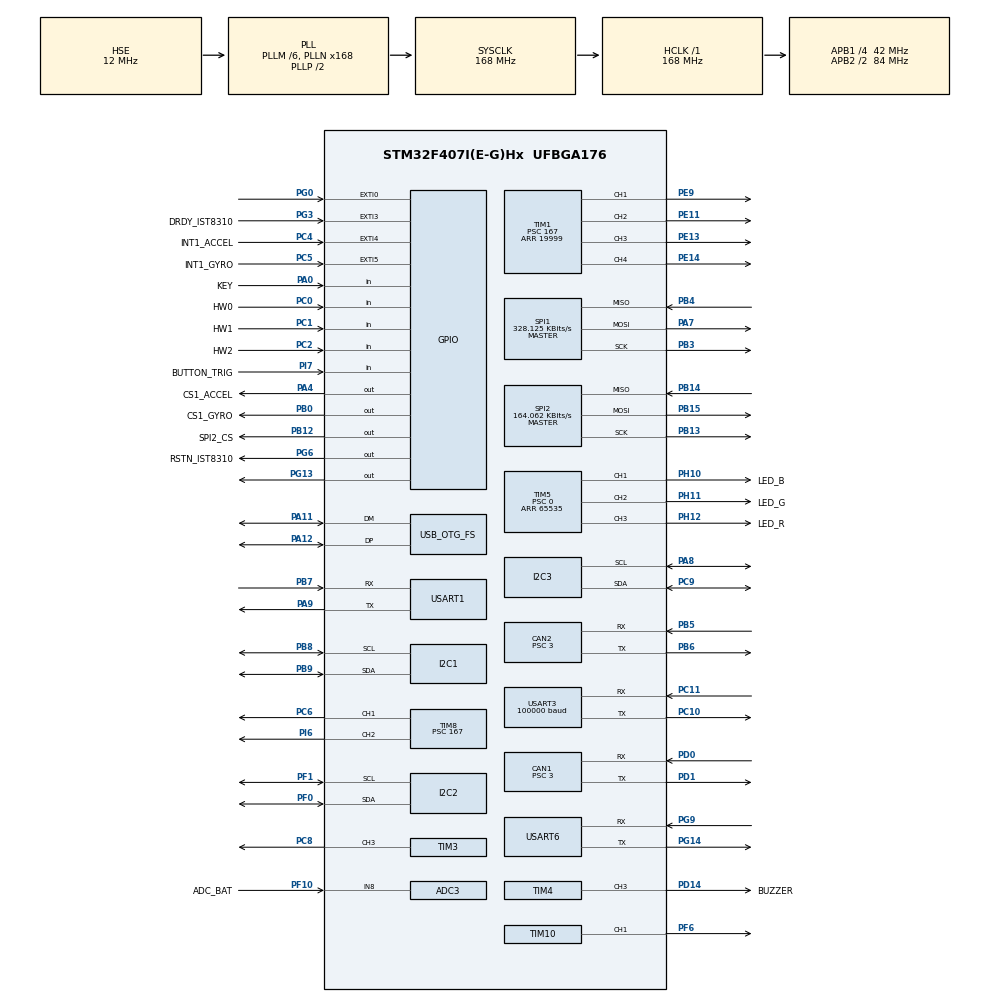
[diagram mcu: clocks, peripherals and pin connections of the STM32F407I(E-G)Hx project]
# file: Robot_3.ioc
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ADC1.Channel-0\#ChannelRegularConversion=ADC_CHANNEL_TEMPSENSOR
ADC1.ClockPrescaler=ADC_CLOCK_SYNC_PCLK_DIV6
ADC1.NbrOfConversionFlag=1
ADC1.Rank-0\#ChannelRegularConversion=1
ADC1.SamplingTime-0\#ChannelRegularConversion=ADC_SAMPLETIME_3CYCLES
ADC1.master=1
ADC3.Channel-0\#ChannelRegularConversion=ADC_CHANNEL_8
ADC3.ClockPrescaler=ADC_CLOCK_SYNC_PCLK_DIV6
ADC3.NbrOfConversionFlag=1
ADC3.Rank-0\#ChannelRegularConversion=1
ADC3.SamplingTime-0\#ChannelRegularConversion=ADC_SAMPLETIME_3CYCLES
CAN1.BS1=CAN_BS1_10TQ
CAN1.BS2=CAN_BS2_3TQ
CAN1.CalculateBaudRate=1000000
CAN1.CalculateTimeQuantum=71.42857142857143
CAN1.Prescaler=3
CAN2.BS1=CAN_BS1_10TQ
CAN2.BS2=CAN_BS2_3TQ
CAN2.CalculateBaudRate=1000000
CAN2.CalculateTimeQuantum=71.42857142857143
CAN2.Prescaler=3
Dma.I2C2_TX.2.Direction=DMA_MEMORY_TO_PERIPH
Dma.I2C2_TX.2.FIFOMode=DMA_FIFOMODE_DISABLE
Dma.I2C2_TX.2.Instance=DMA1_Stream7
Dma.I2C2_TX.2.MemDataAlignment=DMA_MDATAALIGN_BYTE
Dma.I2C2_TX.2.MemInc=DMA_MINC_ENABLE
Dma.I2C2_TX.2.Mode=DMA_NORMAL
Dma.I2C2_TX.2.PeriphDataAlignment=DMA_PDATAALIGN_BYTE
Dma.I2C2_TX.2.PeriphInc=DMA_PINC_DISABLE
Dma.I2C2_TX.2.Priority=DMA_PRIORITY_HIGH
Dma.Request0=SPI1_RX
Dma.Request1=SPI1_TX
Dma.Request2=I2C2_TX
Dma.Request3=USART3_RX
Dma.Request4=USART6_RX
Dma.Request5=USART6_TX
Dma.Request6=USART1_TX
Dma.Request7=USART1_RX
Dma.SPI1_RX.0.Direction=DMA_PERIPH_TO_MEMORY
Dma.SPI1_RX.0.FIFOMode=DMA_FIFOMODE_DISABLE
Dma.SPI1_RX.0.Instance=DMA2_Stream2
Dma.SPI1_RX.0.MemDataAlignment=DMA_MDATAALIGN_BYTE
Dma.SPI1_RX.0.MemInc=DMA_MINC_ENABLE
Dma.SPI1_RX.0.Mode=DMA_NORMAL
Dma.SPI1_RX.0.PeriphDataAlignment=DMA_PDATAALIGN_BYTE
Dma.SPI1_RX.0.PeriphInc=DMA_PINC_DISABLE
Dma.SPI1_RX.0.Priority=DMA_PRIORITY_VERY_HIGH
Dma.SPI1_TX.1.Direction=DMA_MEMORY_TO_PERIPH
Dma.SPI1_TX.1.FIFOMode=DMA_FIFOMODE_DISABLE
Dma.SPI1_TX.1.Instance=DMA2_Stream3
Dma.SPI1_TX.1.MemDataAlignment=DMA_MDATAALIGN_BYTE
Dma.SPI1_TX.1.MemInc=DMA_MINC_ENABLE
Dma.SPI1_TX.1.Mode=DMA_NORMAL
Dma.SPI1_TX.1.PeriphDataAlignment=DMA_PDATAALIGN_BYTE
Dma.SPI1_TX.1.PeriphInc=DMA_PINC_DISABLE
Dma.SPI1_TX.1.Priority=DMA_PRIORITY_HIGH
Dma.USART1_RX.7.Direction=DMA_PERIPH_TO_MEMORY
Dma.USART1_RX.7.FIFOMode=DMA_FIFOMODE_DISABLE
Dma.USART1_RX.7.Instance=DMA2_Stream5
Dma.USART1_RX.7.MemDataAlignment=DMA_MDATAALIGN_BYTE
Dma.USART1_RX.7.MemInc=DMA_MINC_ENABLE
Dma.USART1_RX.7.Mode=DMA_NORMAL
Dma.USART1_RX.7.PeriphDataAlignment=DMA_PDATAALIGN_BYTE
Dma.USART1_RX.7.PeriphInc=DMA_PINC_DISABLE
Dma.USART1_RX.7.Priority=DMA_PRIORITY_LOW
Dma.USART1_TX.6.Direction=DMA_MEMORY_TO_PERIPH
Dma.USART1_TX.6.FIFOMode=DMA_FIFOMODE_DISABLE
Dma.USART1_TX.6.Instance=DMA2_Stream7
Dma.USART1_TX.6.MemDataAlignment=DMA_MDATAALIGN_BYTE
Dma.USART1_TX.6.MemInc=DMA_MINC_ENABLE
Dma.USART1_TX.6.Mode=DMA_NORMAL
Dma.USART1_TX.6.PeriphDataAlignment=DMA_PDATAALIGN_BYTE
Dma.USART1_TX.6.PeriphInc=DMA_PINC_DISABLE
Dma.USART1_TX.6.Priority=DMA_PRIORITY_MEDIUM
Dma.USART3_RX.3.Direction=DMA_PERIPH_TO_MEMORY
Dma.USART3_RX.3.FIFOMode=DMA_FIFOMODE_DISABLE
Dma.USART3_RX.3.Instance=DMA1_Stream1
Dma.USART3_RX.3.MemDataAlignment=DMA_MDATAALIGN_BYTE
Dma.USART3_RX.3.MemInc=DMA_MINC_ENABLE
Dma.USART3_RX.3.Mode=DMA_NORMAL
Dma.USART3_RX.3.PeriphDataAlignment=DMA_PDATAALIGN_BYTE
Dma.USART3_RX.3.PeriphInc=DMA_PINC_DISABLE
Dma.USART3_RX.3.Priority=DMA_PRIORITY_HIGH
Dma.USART6_RX.4.Direction=DMA_PERIPH_TO_MEMORY
Dma.USART6_RX.4.FIFOMode=DMA_FIFOMODE_DISABLE
Dma.USART6_RX.4.Instance=DMA2_Stream1
Dma.USART6_RX.4.MemDataAlignment=DMA_MDATAALIGN_BYTE
Dma.USART6_RX.4.MemInc=DMA_MINC_ENABLE
Dma.USART6_RX.4.Mode=DMA_NORMAL
Dma.USART6_RX.4.PeriphDataAlignment=DMA_PDATAALIGN_BYTE
Dma.USART6_RX.4.PeriphInc=DMA_PINC_DISABLE
Dma.USART6_RX.4.Priority=DMA_PRIORITY_HIGH
Dma.USART6_TX.5.Direction=DMA_MEMORY_TO_PERIPH
Dma.USART6_TX.5.FIFOMode=DMA_FIFOMODE_DISABLE
Dma.USART6_TX.5.Instance=DMA2_Stream6
Dma.USART6_TX.5.MemDataAlignment=DMA_MDATAALIGN_BYTE
Dma.USART6_TX.5.MemInc=DMA_MINC_ENABLE
Dma.USART6_TX.5.Mode=DMA_NORMAL
Dma.USART6_TX.5.PeriphDataAlignment=DMA_PDATAALIGN_BYTE
Dma.USART6_TX.5.PeriphInc=DMA_PINC_DISABLE
Dma.USART6_TX.5.Priority=DMA_PRIORITY_MEDIUM
FREERTOS.INCLUDE_eTaskGetState=1
FREERTOS.INCLUDE_pcTaskGetTaskName=1
FREERTOS.INCLUDE_uxTaskGetStackHighWaterMark=1
FREERTOS.INCLUDE_vTaskCleanUpResources=1
FREERTOS.INCLUDE_vTaskDelayUntil=1
FREERTOS.INCLUDE_xEventGroupSetBitFromISR=1
FREERTOS.INCLUDE_xQueueGetMutexHolder=1
FREERTOS.INCLUDE_xSemaphoreGetMutexHolder=1
FREERTOS.INCLUDE_xTaskAbortDelay=1
FREERTOS.INCLUDE_xTaskGetCurrentTaskHandle=1
FREERTOS.INCLUDE_xTaskGetHandle=1
FREERTOS.INCLUDE_xTimerPendFunctionCall=1
FREERTOS.Tasks01=test,24,128,test_task,As weak,NULL,Dynamic,NULL,NULL
FREERTOS.configTOTAL_HEAP_SIZE=24576
I2C1.I2C_Mode=I2C_Fast
I2C2.I2C_Mode=I2C_Fast
I2C3.I2C_Mode=I2C_Fast
Mcu.Family=STM32F4
Mcu.Name=STM32F407I(E-G)Hx
Mcu.Package=UFBGA176
NVIC.CAN1_RX0_IRQn=true\:6\:0\:true\:false\:true\:true\:true\:true\:true
NVIC.CAN2_RX0_IRQn=true\:6\:0\:true\:false\:true\:true\:true\:true\:true
NVIC.DMA1_Stream1_IRQn=true\:5\:0\:true\:false\:false\:true\:false\:false\:true
NVIC.DMA1_Stream7_IRQn=true\:5\:0\:true\:false\:false\:true\:false\:true\:true
NVIC.DMA2_Stream1_IRQn=true\:5\:0\:true\:false\:true\:true\:false\:true\:true
NVIC.DMA2_Stream2_IRQn=true\:5\:0\:true\:false\:false\:true\:false\:true\:true
NVIC.DMA2_Stream3_IRQn=true\:5\:0\:true\:false\:false\:true\:false\:true\:true
NVIC.DMA2_Stream5_IRQn=true\:5\:0\:false\:false\:true\:true\:false\:true\:true
NVIC.DMA2_Stream6_IRQn=true\:5\:0\:true\:false\:true\:true\:false\:true\:true
NVIC.DMA2_Stream7_IRQn=true\:5\:0\:true\:false\:true\:true\:false\:true\:true
NVIC.EXTI0_IRQn=true\:6\:0\:true\:false\:true\:true\:true\:true\:true
NVIC.EXTI3_IRQn=true\:5\:0\:true\:false\:true\:true\:true\:true\:true
NVIC.EXTI4_IRQn=true\:5\:0\:true\:false\:true\:true\:true\:true\:true
NVIC.EXTI9_5_IRQn=true\:5\:0\:true\:false\:true\:true\:true\:true\:true
NVIC.OTG_FS_IRQn=true\:5\:0\:false\:false\:true\:true\:false\:true\:true
NVIC.PriorityGroup=NVIC_PRIORITYGROUP_4
NVIC.USART1_IRQn=true\:5\:0\:false\:false\:true\:true\:true\:true\:true
NVIC.USART3_IRQn=true\:4\:0\:true\:false\:false\:false\:true\:true\:true
NVIC.USART6_IRQn=true\:5\:0\:true\:false\:false\:true\:true\:true\:true
PA0-WKUP.GPIO_Label=KEY
PA0-WKUP.GPIO_PuPd=GPIO_PULLUP
PA0-WKUP.Signal=GPIO_Input
PA11.Mode=Device_Only
PA11.Signal=USB_OTG_FS_DM
PA12.Mode=Device_Only
PA12.Signal=USB_OTG_FS_DP
PA13.Mode=Serial_Wire
PA13.Signal=SYS_JTMS-SWDIO
PA14.Mode=Serial_Wire
PA14.Signal=SYS_JTCK-SWCLK
PA4.GPIO_Label=CS1_ACCEL
PA4.GPIO_PuPd=GPIO_PULLUP
PA4.GPIO_Speed=GPIO_SPEED_FREQ_HIGH
PA4.PinState=GPIO_PIN_SET
PA4.Signal=GPIO_Output
PA7.GPIO_PuPd=GPIO_PULLUP
PA7.Mode=Full_Duplex_Master
PA7.Signal=SPI1_MOSI
PA8.GPIO_Pu=GPIO_PULLUP
PA8.Mode=I2C
PA8.Signal=I2C3_SCL
PA9.Mode=Asynchronous
PA9.Signal=USART1_TX
PB0.GPIO_Label=CS1_GYRO
PB0.GPIO_PuPd=GPIO_PULLUP
PB0.GPIO_Speed=GPIO_SPEED_FREQ_HIGH
PB0.PinState=GPIO_PIN_SET
PB0.Signal=GPIO_Output
PB12.GPIO_Label=SPI2_CS
PB12.GPIO_PuPd=GPIO_PULLUP
PB12.GPIO_Speed=GPIO_SPEED_FREQ_MEDIUM
PB12.PinState=GPIO_PIN_SET
PB12.Signal=GPIO_Output
PB13.GPIO_PuPd=GPIO_PULLUP
PB13.Mode=Full_Duplex_Master
PB13.Signal=SPI2_SCK
PB14.GPIO_PuPd=GPIO_PULLUP
PB14.Mode=Full_Duplex_Master
PB14.Signal=SPI2_MISO
PB15.GPIO_PuPd=GPIO_PULLUP
PB15.Mode=Full_Duplex_Master
PB15.Signal=SPI2_MOSI
PB3.GPIO_PuPd=GPIO_PULLUP
PB3.Mode=Full_Duplex_Master
PB3.Signal=SPI1_SCK
PB4.GPIO_PuPd=GPIO_PULLUP
PB4.Mode=Full_Duplex_Master
PB4.Signal=SPI1_MISO
PB5.Mode=CAN_Activate
PB5.Signal=CAN2_RX
PB6.Mode=CAN_Activate
PB6.Signal=CAN2_TX
PB7.Mode=Asynchronous
PB7.Signal=USART1_RX
PB8.GPIO_Pu=GPIO_PULLUP
PB8.Mode=I2C
PB8.Signal=I2C1_SCL
PB9.GPIO_Pu=GPIO_PULLUP
PB9.Mode=I2C
PB9.Signal=I2C1_SDA
PC0.GPIO_Label=HW0
PC0.Signal=GPIO_Input
PC1.GPIO_Label=HW1
PC1.Signal=GPIO_Input
PC10.Mode=Asynchronous
PC10.Signal=USART3_TX
PC11.Mode=Asynchronous
PC11.Signal=USART3_RX
PC2.GPIO_Label=HW2
PC2.Signal=GPIO_Input
PC4.GPIO_Label=INT1_ACCEL
PC4.GPIO_ModeDefaultEXTI=GPIO_MODE_IT_FALLING
PC4.GPIO_PuPd=GPIO_PULLUP
PC4.Signal=GPXTI4
PC5.GPIO_Label=INT1_GYRO
PC5.GPIO_ModeDefaultEXTI=GPIO_MODE_IT_FALLING
PC5.GPIO_PuPd=GPIO_PULLUP
PC5.Signal=GPXTI5
PC6.GPIO_PuPd=GPIO_PULLUP
PC6.GPIO_Speed=GPIO_SPEED_FREQ_HIGH
PC6.Signal=S_TIM8_CH1
PC8.GPIO_PuPd=GPIO_PULLUP
PC8.GPIO_Speed=GPIO_SPEED_FREQ_HIGH
PC8.Signal=S_TIM3_CH3
PC9.GPIO_Pu=GPIO_PULLUP
PC9.Mode=I2C
PC9.Signal=I2C3_SDA
PD0.Mode=CAN_Activate
PD0.Signal=CAN1_RX
PD1.Mode=CAN_Activate
PD1.Signal=CAN1_TX
PD14.GPIO_Label=BUZZER
PD14.GPIO_PuPd=GPIO_PULLUP
PD14.GPIO_Speed=GPIO_SPEED_FREQ_VERY_HIGH
PD14.Signal=S_TIM4_CH3
PE11.GPIO_PuPd=GPIO_PULLUP
PE11.GPIO_Speed=GPIO_SPEED_FREQ_HIGH
PE11.Signal=S_TIM1_CH2
PE13.GPIO_PuPd=GPIO_PULLUP
PE13.GPIO_Speed=GPIO_SPEED_FREQ_HIGH
PE13.Signal=S_TIM1_CH3
PE14.GPIO_PuPd=GPIO_PULLUP
PE14.GPIO_Speed=GPIO_SPEED_FREQ_HIGH
PE14.Signal=S_TIM1_CH4
PE9.GPIO_PuPd=GPIO_PULLUP
PE9.GPIO_Speed=GPIO_SPEED_FREQ_HIGH
PE9.Signal=S_TIM1_CH1
PF0.GPIO_Pu=GPIO_PULLUP
PF0.Mode=I2C
PF0.Signal=I2C2_SDA
PF1.GPIO_Pu=GPIO_PULLUP
PF1.Mode=I2C
PF1.Signal=I2C2_SCL
PF10.GPIO_Label=ADC_BAT
PF10.Mode=IN8
PF10.Signal=ADC3_IN8
PF6.GPIO_PuPd=GPIO_PULLUP
PF6.GPIO_Speed=GPIO_SPEED_FREQ_HIGH
PF6.Signal=S_TIM10_CH1
PG0.GPIO_ModeDefaultEXTI=GPIO_MODE_IT_FALLING
PG0.GPIO_PuPd=GPIO_PULLUP
PG0.Signal=GPXTI0
PG13.GPIO_PuPd=GPIO_PULLUP
PG13.GPIO_Speed=GPIO_SPEED_FREQ_HIGH
PG13.Signal=GPIO_Output
PG14.Mode=Asynchronous
PG14.Signal=USART6_TX
PG3.GPIO_Label=DRDY_IST8310
PG3.GPIO_ModeDefaultEXTI=GPIO_MODE_IT_FALLING
PG3.GPIO_PuPd=GPIO_PULLUP
PG3.Signal=GPXTI3
PG6.GPIO_Label=RSTN_IST8310
PG6.GPIO_PuPd=GPIO_PULLUP
PG6.GPIO_Speed=GPIO_SPEED_FREQ_MEDIUM
PG6.PinState=GPIO_PIN_SET
PG6.Signal=GPIO_Output
PG9.Mode=Asynchronous
PG9.Signal=USART6_RX
PH0-OSC_IN.Mode=HSE-External-Oscillator
PH0-OSC_IN.Signal=RCC_OSC_IN
PH1-OSC_OUT.Mode=HSE-External-Oscillator
PH1-OSC_OUT.Signal=RCC_OSC_OUT
PH10.GPIO_Label=LED_B
PH10.GPIO_PuPd=GPIO_PULLUP
PH10.GPIO_Speed=GPIO_SPEED_FREQ_HIGH
PH10.Signal=S_TIM5_CH1
PH11.GPIO_Label=LED_G
PH11.GPIO_PuPd=GPIO_PULLUP
PH11.GPIO_Speed=GPIO_SPEED_FREQ_HIGH
PH11.Signal=S_TIM5_CH2
PH12.GPIO_Label=LED_R
PH12.GPIO_PuPd=GPIO_PULLUP
PH12.GPIO_Speed=GPIO_SPEED_FREQ_HIGH
PH12.Signal=S_TIM5_CH3
PI6.GPIO_PuPd=GPIO_PULLUP
PI6.GPIO_Speed=GPIO_SPEED_FREQ_HIGH
PI6.Signal=S_TIM8_CH2
PI7.GPIO_Label=BUTTON_TRIG
PI7.GPIO_PuPd=GPIO_PULLUP
PI7.Signal=GPIO_Input
ProjectManager.HeapSize=0x2000
ProjectManager.StackSize=0x2000
ProjectManager.TargetToolchain=MDK-ARM V5
RCC.48MHZClocksFreq_Value=48000000
RCC.AHBFreq_Value=168000000
RCC.APB1CLKDivider=RCC_HCLK_DIV4
RCC.APB1Freq_Value=42000000
RCC.APB1TimFreq_Value=84000000
RCC.APB2CLKDivider=RCC_HCLK_DIV2
RCC.APB2Freq_Value=84000000
RCC.APB2TimFreq_Value=168000000
RCC.CortexFreq_Value=168000000
RCC.HCLKFreq_Value=168000000
RCC.HSE_VALUE=12000000
RCC.HSI_VALUE=16000000
RCC.LSE_VALUE=32768
RCC.PLLM=6
RCC.PLLN=168
RCC.PLLQ=7
RCC.RCC_RTC_Clock_SourceVirtual=RCC_RTCCLKSOURCE_HSE_DIV30
RCC.RCC_RTC_Clock_Source_FROM_HSE=RCC_RTCCLKSOURCE_HSE_DIV30
RCC.SYSCLKFreq_VALUE=168000000
RCC.SYSCLKSource=RCC_SYSCLKSOURCE_PLLCLK
RCC.VCOOutputFreq_Value=336000000
RTC.AsynchPrediv=124
RTC.SynchPrediv=3199
SH.S_TIM10_CH1.0=TIM10_CH1,PWM Generation1 CH1
SH.S_TIM1_CH1.0=TIM1_CH1,PWM Generation1 CH1
SH.S_TIM1_CH2.0=TIM1_CH2,PWM Generation2 CH2
SH.S_TIM1_CH3.0=TIM1_CH3,PWM Generation3 CH3
SH.S_TIM1_CH4.0=TIM1_CH4,PWM Generation4 CH4
SH.S_TIM3_CH3.0=TIM3_CH3,PWM Generation3 CH3
SH.S_TIM4_CH3.0=TIM4_CH3,PWM Generation3 CH3
SH.S_TIM5_CH1.0=TIM5_CH1,PWM Generation1 CH1
SH.S_TIM5_CH2.0=TIM5_CH2,PWM Generation2 CH2
SH.S_TIM5_CH3.0=TIM5_CH3,PWM Generation3 CH3
SH.S_TIM8_CH1.0=TIM8_CH1,PWM Generation1 CH1
SH.S_TIM8_CH2.0=TIM8_CH2,PWM Generation2 CH2
SPI1.BaudRatePrescaler=SPI_BAUDRATEPRESCALER_256
SPI1.CLKPhase=SPI_PHASE_2EDGE
SPI1.CLKPolarity=SPI_POLARITY_HIGH
SPI1.CalculateBaudRate=328.125 KBits/s
SPI1.Direction=SPI_DIRECTION_2LINES
SPI1.Mode=SPI_MODE_MASTER
SPI1.VirtualType=VM_MASTER
SPI2.BaudRatePrescaler=SPI_BAUDRATEPRESCALER_256
SPI2.CLKPhase=SPI_PHASE_2EDGE
SPI2.CLKPolarity=SPI_POLARITY_HIGH
SPI2.CalculateBaudRate=164.062 KBits/s
SPI2.Direction=SPI_DIRECTION_2LINES
SPI2.Mode=SPI_MODE_MASTER
SPI2.VirtualType=VM_MASTER
TIM1.Channel-PWM\ Generation1\ CH1=TIM_CHANNEL_1
TIM1.Channel-PWM\ Generation2\ CH2=TIM_CHANNEL_2
TIM1.Channel-PWM\ Generation3\ CH3=TIM_CHANNEL_3
TIM1.Channel-PWM\ Generation4\ CH4=TIM_CHANNEL_4
TIM1.Period=19999
TIM1.Prescaler=167
TIM1.Pulse-PWM\ Generation1\ CH1=1000
TIM1.Pulse-PWM\ Generation2\ CH2=1000
TIM1.Pulse-PWM\ Generation3\ CH3=1000
TIM1.Pulse-PWM\ Generation4\ CH4=1000
TIM10.Channel=TIM_CHANNEL_1
TIM10.Period=4999
TIM3.Channel-PWM\ Generation3\ CH3=TIM_CHANNEL_3
TIM3.Period=8399
TIM4.Channel-PWM\ Generation3\ CH3=TIM_CHANNEL_3
TIM4.Period=65535
TIM4.Prescaler=167
TIM5.Channel-PWM\ Generation1\ CH1=TIM_CHANNEL_1
TIM5.Channel-PWM\ Generation2\ CH2=TIM_CHANNEL_2
TIM5.Channel-PWM\ Generation3\ CH3=TIM_CHANNEL_3
TIM5.Period=65535
TIM5.Prescaler=0
TIM8.Channel-PWM\ Generation1\ CH1=TIM_CHANNEL_1
TIM8.Channel-PWM\ Generation2\ CH2=TIM_CHANNEL_2
TIM8.Period=19999
TIM8.Prescaler=167
TIM8.Pulse-PWM\ Generation1\ CH1=1000
TIM8.Pulse-PWM\ Generation2\ CH2=1000
USART1.VirtualMode=VM_ASYNC
USART3.BaudRate=100000
USART3.Parity=PARITY_EVEN
USART3.VirtualMode=VM_ASYNC
USART6.VirtualMode=VM_ASYNC
USB_DEVICE.CLASS_NAME_FS=CDC
USB_DEVICE.VirtualMode-CDC_FS=Cdc
USB_DEVICE.VirtualModeFS=Cdc_FS
USB_OTG_FS.VirtualMode=Device_Only
VP_ADC1_TempSens_Input.Mode=IN-TempSens
VP_ADC1_Vref_Input.Mode=IN-Vrefint
VP_CRC_VS_CRC.Mode=CRC_Activate
VP_FREERTOS_VS_CMSIS_V1.Mode=CMSIS_V1
VP_RNG_VS_RNG.Mode=RNG_Activate
VP_RTC_VS_RTC_Activate.Mode=RTC_Enabled
VP_TIM10_VS_ClockSourceINT.Mode=Enable_Timer
VP_TIM1_VS_ClockSourceINT.Mode=Internal
VP_TIM3_VS_ClockSourceINT.Mode=Internal
VP_TIM4_VS_ClockSourceINT.Mode=Internal
VP_TIM5_VS_ClockSourceINT.Mode=Internal
VP_TIM8_VS_ClockSourceINT.Mode=Internal
VP_USB_DEVICE_VS_USB_DEVICE_CDC_FS.Mode=CDC_FS
board=custom

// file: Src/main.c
/* USER CODE BEGIN Header */
/**
 ******************************************************************************
 * @file           : main.c
 * @brief          : Main program body
 ******************************************************************************
 * @attention
 *
 * <h2><center>&copy; Copyright (c) 2019 STMicroelectronics.
 * All rights reserved.</center></h2>
 *
 * This software component is licensed by ST under Ultimate Liberty license
 * SLA0044, the "License"; You may not use this file except in compliance with
 * the License. You may obtain a copy of the License at:
 *                             www.st.com/SLA0044
 *
 ******************************************************************************
 */
/* USER CODE END Header */
#include "main.h"
#include "cmsis_os.h"
#include "adc.h"
#include "can.h"
#include "crc.h"
#include "dma.h"
#include "i2c.h"
#include "rng.h"
#include "rtc.h"
#include "spi.h"
#include "tim.h"
#include "usart.h"
#include "usb_device.h"
#include "gpio.h"

/* USER CODE BEGIN Includes */
#include "bsp_can.h"
#include "bsp_delay.h"
#include "bsp_usart.h"
#include "remote_control.h"

#include "calibrate_task.h"
#include "chassis_task.h"
#include "detect_task.h"
#include "gimbal_task.h"
#include "INS_task.h"
#include "led_flow_task.h"
#include "oled_task.h"
#include "referee_usart_task.h"
#include "usb_task.h"
#include "voltage_task.h"
#include "bsp_dwt.h"
/* USER CODE END Includes */

void SystemClock_Config(void);
void MX_FREERTOS_Init(void);

int main(void)
{

  /* MCU Configuration--------------------------------------------------------*/

  /* Reset of all peripherals, Initializes the Flash interface and the Systick. */
  HAL_Init();

  /* Configure the system clock */
  SystemClock_Config();

  /* Initialize all configured peripherals */
  MX_GPIO_Init();
  MX_DMA_Init();
  MX_ADC1_Init();
  MX_ADC3_Init();
  MX_CAN1_Init();
  MX_CAN2_Init();
  MX_I2C1_Init();
  MX_SPI1_Init();
  MX_TIM4_Init();
  MX_TIM5_Init();
  MX_USART3_UART_Init();
  MX_TIM8_Init();
  MX_CRC_Init();
  MX_RNG_Init();
  MX_I2C2_Init();
  MX_I2C3_Init();
  MX_RTC_Init();
  MX_SPI2_Init();
  MX_TIM1_Init();
  MX_TIM3_Init();
  MX_TIM10_Init();
  MX_USART1_UART_Init();
  MX_USART6_UART_Init();
  /* USER CODE BEGIN 2 */
  can_filter_init();
  delay_init();
	DWT_Init(168);
	while (BMI088_init(&hspi1, 1) != BMI088_NO_ERROR);
//  cali_param_init();
  remote_control_init();
  usart1_tx_dma_init();
  /* USER CODE END 2 */

  /* Call init function for freertos objects (in freertos.c) */
  MX_FREERTOS_Init();

  /* Start scheduler */
  osKernelStart();

  /* We should never get here as control is now taken by the scheduler */
  /* Infinite loop */
  while (1)
  {

  }
}

void SystemClock_Config(void)
{
  RCC_OscInitTypeDef RCC_OscInitStruct = {0};
  RCC_ClkInitTypeDef RCC_ClkInitStruct = {0};

  /** Configure the main internal regulator output voltage
  */
  __HAL_RCC_PWR_CLK_ENABLE();
  __HAL_PWR_VOLTAGESCALING_CONFIG(PWR_REGULATOR_VOLTAGE_SCALE1);

  /** Initializes the RCC Oscillators according to the specified parameters
  * in the RCC_OscInitTypeDef structure.
  */
  RCC_OscInitStruct.OscillatorType = RCC_OSCILLATORTYPE_HSE;
  RCC_OscInitStruct.HSEState = RCC_HSE_ON;
  RCC_OscInitStruct.PLL.PLLState = RCC_PLL_ON;
  RCC_OscInitStruct.PLL.PLLSource = RCC_PLLSOURCE_HSE;
  RCC_OscInitStruct.PLL.PLLM = 6;
  RCC_OscInitStruct.PLL.PLLN = 168;
  RCC_OscInitStruct.PLL.PLLP = RCC_PLLP_DIV2;
  RCC_OscInitStruct.PLL.PLLQ = 7;
  if (HAL_RCC_OscConfig(&RCC_OscInitStruct) != HAL_OK)
  {
    Error_Handler();
  }

  /** Initializes the CPU, AHB and APB buses clocks
  */
  RCC_ClkInitStruct.ClockType = RCC_CLOCKTYPE_HCLK|RCC_CLOCKTYPE_SYSCLK
                              |RCC_CLOCKTYPE_PCLK1|RCC_CLOCKTYPE_PCLK2;
  RCC_ClkInitStruct.SYSCLKSource = RCC_SYSCLKSOURCE_PLLCLK;
  RCC_ClkInitStruct.AHBCLKDivider = RCC_SYSCLK_DIV1;
  RCC_ClkInitStruct.APB1CLKDivider = RCC_HCLK_DIV4;
  RCC_ClkInitStruct.APB2CLKDivider = RCC_HCLK_DIV2;

  if (HAL_RCC_ClockConfig(&RCC_ClkInitStruct, FLASH_LATENCY_5) != HAL_OK)
  {
    Error_Handler();
  }
}

/* USER CODE BEGIN 4 */
void BSP_Init(void)
{

}
/* USER CODE END 4 */

void Error_Handler(void)
{
}

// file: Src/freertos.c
/* USER CODE BEGIN Header */
/**
  ******************************************************************************
  * File Name          : freertos.c
  * Description        : Code for freertos applications
  ******************************************************************************
  * @attention
  *
  * <h2><center>&copy; Copyright (c) 2019 STMicroelectronics.
  * All rights reserved.</center></h2>
  *
  * This software component is licensed by ST under Ultimate Liberty license
  * SLA0044, the "License"; You may not use this file except in compliance with
  * the License. You may obtain a copy of the License at:
  *                             www.st.com/SLA0044
  *
  ******************************************************************************
  */
/* USER CODE END Header */

#include "FreeRTOS.h"
#include "task.h"
#include "main.h"
#include "cmsis_os.h"

/* USER CODE BEGIN Includes */

#include "calibrate_task.h"
#include "chassis_task.h"
#include "detect_task.h"
#include "gimbal_task.h"
#include "IMUTask.h"
#include "led_flow_task.h"
#include "oled_task.h"
#include "referee_usart_task.h"
#include "usb_task.h"
#include "voltage_task.h"
#include "servo_task.h"
#include "Vision_Task.h"
/* USER CODE END Includes */

/* USER CODE BEGIN PTD */

osThreadId calibrate_tast_handle;
osThreadId chassisTaskHandle;
osThreadId detect_handle;
osThreadId gimbalTaskHandle;
osThreadId INSTaskHandle;
osThreadId led_RGB_flow_handle;
osThreadId oled_handle;
osThreadId referee_usart_task_handle;
osThreadId Vision_task_handle;
osThreadId usb_task_handle;
osThreadId battery_voltage_handle;
//osThreadId servo_task_handle;

/* USER CODE END PTD */

osThreadId testHandle;

/* USER CODE BEGIN FunctionPrototypes */
void StartINSTask(void const * argument);
/* USER CODE END FunctionPrototypes */

void test_task(void const * argument);

extern void MX_USB_DEVICE_Init(void);
void MX_FREERTOS_Init(void); /* (MISRA C 2004 rule 8.1) */

/* GetIdleTaskMemory prototype (linked to static allocation support) */
void vApplicationGetIdleTaskMemory( StaticTask_t **ppxIdleTaskTCBBuffer, StackType_t **ppxIdleTaskStackBuffer, uint32_t *pulIdleTaskStackSize );

/* GetTimerTaskMemory prototype (linked to static allocation support) */
void vApplicationGetTimerTaskMemory( StaticTask_t **ppxTimerTaskTCBBuffer, StackType_t **ppxTimerTaskStackBuffer, uint32_t *pulTimerTaskStackSize );

/* USER CODE BEGIN GET_IDLE_TASK_MEMORY */
static StaticTask_t xIdleTaskTCBBuffer;
static StackType_t xIdleStack[configMINIMAL_STACK_SIZE];

void vApplicationGetIdleTaskMemory( StaticTask_t **ppxIdleTaskTCBBuffer, StackType_t **ppxIdleTaskStackBuffer, uint32_t *pulIdleTaskStackSize )
{
  *ppxIdleTaskTCBBuffer = &xIdleTaskTCBBuffer;
  *ppxIdleTaskStackBuffer = &xIdleStack[0];
  *pulIdleTaskStackSize = configMINIMAL_STACK_SIZE;
  /* place for user code */
}
/* USER CODE END GET_IDLE_TASK_MEMORY */

/* USER CODE BEGIN GET_TIMER_TASK_MEMORY */
static StaticTask_t xTimerTaskTCBBuffer;
static StackType_t xTimerStack[configTIMER_TASK_STACK_DEPTH];

void vApplicationGetTimerTaskMemory( StaticTask_t **ppxTimerTaskTCBBuffer, StackType_t **ppxTimerTaskStackBuffer, uint32_t *pulTimerTaskStackSize )
{
  *ppxTimerTaskTCBBuffer = &xTimerTaskTCBBuffer;
  *ppxTimerTaskStackBuffer = &xTimerStack[0];
  *pulTimerTaskStackSize = configTIMER_TASK_STACK_DEPTH;
  /* place for user code */
}
/* USER CODE END GET_TIMER_TASK_MEMORY */

void MX_FREERTOS_Init(void) {

  /* Create the thread(s) */
  /* definition and creation of test */
//  osThreadDef(test, test_task, osPriorityNormal, 0, 128);
//  testHandle = osThreadCreate(osThread(test), NULL);

  /* USER CODE BEGIN RTOS_THREADS */
  /* add threads, ... */
//    osThreadDef(cali, calibrate_task, osPriorityNormal, 0, 512);
//    calibrate_tast_handle = osThreadCreate(osThread(cali), NULL);

    osThreadDef(ChassisTask, chassis_task, osPriorityAboveNormal, 0, 512);
    chassisTaskHandle = osThreadCreate(osThread(ChassisTask), NULL);

    osThreadDef(DETECT, detect_task, osPriorityNormal, 0, 256);
    detect_handle = osThreadCreate(osThread(DETECT), NULL);

    osThreadDef(gimbalTask, gimbal_task, osPriorityHigh, 0, 512);
    gimbalTaskHandle = osThreadCreate(osThread(gimbalTask), NULL);

	osThreadDef(INSTask, StartINSTask, osPriorityNormal, 0, 1024);
	INSTaskHandle = osThreadCreate(osThread(INSTask), NULL);

    osThreadDef(led, led_RGB_flow_task, osPriorityNormal, 0, 128);
    led_RGB_flow_handle = osThreadCreate(osThread(led), NULL);

//    osThreadDef(OLED, oled_task, osPriorityLow, 0, 256);
//    oled_handle = osThreadCreate(osThread(OLED), NULL);

    osThreadDef(REFEREE, referee_usart_task, osPriorityNormal, 0, 128);
    referee_usart_task_handle = osThreadCreate(osThread(REFEREE), NULL);
//
	osThreadDef(BATTERY_VOLTAGE, battery_voltage_task, osPriorityNormal, 0, 128);
    battery_voltage_handle = osThreadCreate(osThread(BATTERY_VOLTAGE), NULL);

//    osThreadDef(VISION, Vision_Task, osPriorityAboveNormal, 0, 128);
//    Vision_Task_handle = osThreadCreate(osThread(VISION), NULL);

//    osThreadDef(VISION_SEND, Vision_task, osPriorityNormal, 0, 256);
//    Vision_task_handle = osThreadCreate(osThread(VISION_SEND), NULL);

  /* USER CODE END RTOS_THREADS */

}

void StartINSTask(void const * argument)
{
  /* init code for USB_DEVICE */
  INS_Init();
  /* USER CODE BEGIN test_task */
  /* Infinite loop */
  for(;;)
  {
	INS_Task();
    osDelay(1);
  }
  /* USER CODE END test_task */
}
